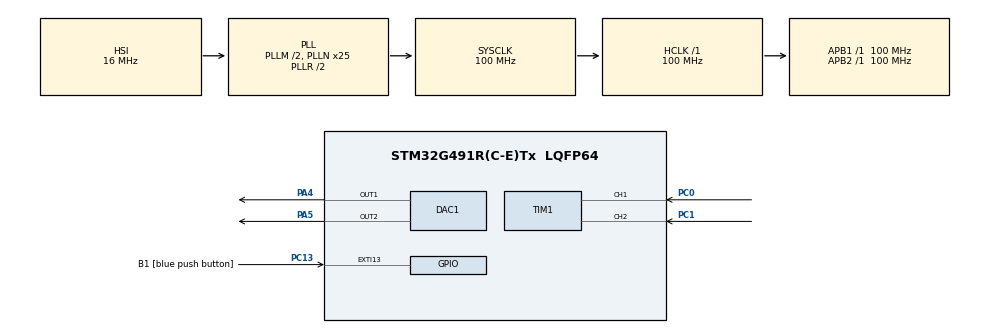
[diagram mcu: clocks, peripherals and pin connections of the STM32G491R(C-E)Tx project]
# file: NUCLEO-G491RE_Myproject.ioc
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DAC1.DAC_Channel-DAC_OUT2=DAC_CHANNEL_2
Mcu.Family=STM32G4
Mcu.Name=STM32G491R(C-E)Tx
Mcu.Package=LQFP64
NVIC.EXTI15_10_IRQn=true\:6\:0\:true\:false\:true\:true\:true\:true
NVIC.PriorityGroup=NVIC_PRIORITYGROUP_4
NVIC.TIM1_CC_IRQn=true\:12\:0\:true\:false\:true\:true\:true\:true
NVIC.TIM6_DAC_IRQn=true\:15\:0\:true\:false\:true\:false\:true\:true
NVIC.TimeBase=TIM6_DAC_IRQn
NVIC.TimeBaseIP=TIM6
PA13.GPIO_Label=T_SWDIO
PA13.Signal=SYS_JTMS-SWDIO
PA14.GPIO_Label=T_SWCLK
PA14.Signal=SYS_JTCK-SWCLK
PA2.GPIO_Mode=GPIO_MODE_AF_PP
PA2.GPIO_PuPd=GPIO_NOPULL
PA2.GPIO_Speed=GPIO_SPEED_FREQ_LOW
PA2.Signal=LPUART1_TX
PA3.GPIO_Mode=GPIO_MODE_AF_PP
PA3.GPIO_PuPd=GPIO_NOPULL
PA3.GPIO_Speed=GPIO_SPEED_FREQ_LOW
PA3.Signal=LPUART1_RX
PA4.Signal=COMP_DAC11_group
PA5.Signal=COMP_DAC12_group
PB3.GPIO_Label=T_SWO
PB3.Signal=SYS_JTDO-SWO
PC0.Signal=S_TIM1_CH1
PC1.Signal=S_TIM1_CH2
PC13.GPIO_Label=B1 [blue push button]
PC13.Signal=GPXTI13
PC14-OSC32_IN.Signal=RCC_OSC32_IN
PC15-OSC32_OUT.Signal=RCC_OSC32_OUT
PF0-OSC_IN.Signal=RCC_OSC_IN
PF1-OSC_OUT.Signal=RCC_OSC_OUT
ProjectManager.HeapSize=0x200
ProjectManager.StackSize=0x400
ProjectManager.TargetToolchain=STM32CubeIDE
RCC.ADC12Freq_Value=100000000
RCC.ADC345Freq_Value=100000000
RCC.AHBFreq_Value=100000000
RCC.APB1Freq_Value=100000000
RCC.APB1TimFreq_Value=100000000
RCC.APB2Freq_Value=100000000
RCC.APB2TimFreq_Value=100000000
RCC.CortexFreq_Value=100000000
RCC.EXTERNAL_CLOCK_VALUE=12288000
RCC.HCLKFreq_Value=100000000
RCC.HSE_VALUE=24000000
RCC.HSI48_VALUE=48000000
RCC.HSI_VALUE=16000000
RCC.LSE_VALUE=32768
RCC.PLLM=RCC_PLLM_DIV2
RCC.PLLN=25
RCC.RTCClockSelection=RCC_RTCCLKSOURCE_LSE
RCC.SYSCLKFreq_VALUE=100000000
RCC.SYSCLKSource=RCC_SYSCLKSOURCE_PLLCLK
RCC.USBFreq_Value=48000000
RCC.VCOOutputFreq_Value=200000000
SH.COMP_DAC11_group.0=DAC1_OUT1,DAC_OUT1
SH.COMP_DAC12_group.0=DAC1_OUT2,DAC_OUT2
SH.S_TIM1_CH1.0=TIM1_CH1,Encoder_Interface
SH.S_TIM1_CH2.0=TIM1_CH2,Encoder_Interface
VP_SYS_VS_DBSignals.Mode=DisableDeadBatterySignals
VP_SYS_VS_tim6.Mode=TIM6
board=NUCLEO-G491RE

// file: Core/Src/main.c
/* USER CODE BEGIN Header */
/**
  ******************************************************************************
  * @file           : main.c
  * @brief          : Main program body
  ******************************************************************************
  * @attention
  *
  * Copyright (c) 2022 STMicroelectronics.
  * All rights reserved.
  *
  * This software is licensed under terms that can be found in the LICENSE file
  * in the root directory of this software component.
  * If no LICENSE file comes with this software, it is provided AS-IS.
  *
  ******************************************************************************
  */
/* USER CODE END Header */
#include "main.h"

/* USER CODE BEGIN Includes */
#include "stdio.h"
#include "FreeRTOS.h"
#include "task.h"
#include "semphr.h"
/* USER CODE END Includes */

 DAC_HandleTypeDef hdac1;

TIM_HandleTypeDef htim1;

/* USER CODE BEGIN PV */

#define DWT_CTRL	(*(volatile uint32_t*) 0xE0001000)

/* USER CODE END PV */

void SystemClock_Config(void);
static void MX_GPIO_Init(void);
static void MX_TIM1_Init(void);
static void MX_DAC1_Init(void);
/* USER CODE BEGIN PFP */
static void task1_handler(void* parameters);
static void task2_handler(void* parameters);

extern  void SEGGER_UART_init(uint32_t);
/* USER CODE END PFP */

/* USER CODE BEGIN 0 */

SemaphoreHandle_t xSemaphore;

/* USER CODE END 0 */

int main(void)
{
  /* USER CODE BEGIN 1 */
	TaskHandle_t task1_handle;
	TaskHandle_t task2_handle;

	BaseType_t status;
  /* USER CODE END 1 */

  /* MCU Configuration--------------------------------------------------------*/

  /* Reset of all peripherals, Initializes the Flash interface and the Systick. */
  HAL_Init();

  /* Configure the system clock */
  SystemClock_Config();

  /* Initialize all configured peripherals */
  MX_GPIO_Init();
  MX_TIM1_Init();
  MX_DAC1_Init();
  /* USER CODE BEGIN 2 */

  HAL_SYSCFG_VREFBUF_VoltageScalingConfig(SYSCFG_VREFBUF_VOLTAGE_SCALE0);
	HAL_SYSCFG_VREFBUF_HighImpedanceConfig(SYSCFG_VREFBUF_HIGH_IMPEDANCE_DISABLE);
	HAL_SYSCFG_EnableVREFBUF();

  __HAL_DAC_ENABLE(&hdac1, DAC_CHANNEL_1);
  __HAL_DAC_ENABLE(&hdac1, DAC_CHANNEL_2);

  //Enable cycle counting
  DWT_CTRL |= (1<<0);

  HAL_TIM_Encoder_Start_IT(&htim1,htim1.Channel);

  SEGGER_UART_init(500000);
  SEGGER_SYSVIEW_Conf();

  status = xTaskCreate(task1_handler, "Task-1", 200, "Hello world from Task-1", 2, &task1_handle);
  configASSERT(status == pdPASS);

  status = xTaskCreate(task2_handler, "Task-2", 200, "Hello world from Task-2", 3, &task2_handle);
  configASSERT(status == pdPASS);

  //start freeRTOS scheduler
  vTaskStartScheduler();

  /* USER CODE END 2 */

  /* Infinite loop */
  while (1)
  {

  }
}

void SystemClock_Config(void)
{
  RCC_OscInitTypeDef RCC_OscInitStruct = {0};
  RCC_ClkInitTypeDef RCC_ClkInitStruct = {0};

  /** Configure the main internal regulator output voltage
  */
  HAL_PWREx_ControlVoltageScaling(PWR_REGULATOR_VOLTAGE_SCALE1);

  /** Initializes the RCC Oscillators according to the specified parameters
  * in the RCC_OscInitTypeDef structure.
  */
  RCC_OscInitStruct.OscillatorType = RCC_OSCILLATORTYPE_HSI;
  RCC_OscInitStruct.HSIState = RCC_HSI_ON;
  RCC_OscInitStruct.HSICalibrationValue = RCC_HSICALIBRATION_DEFAULT;
  RCC_OscInitStruct.PLL.PLLState = RCC_PLL_ON;
  RCC_OscInitStruct.PLL.PLLSource = RCC_PLLSOURCE_HSI;
  RCC_OscInitStruct.PLL.PLLM = RCC_PLLM_DIV2;
  RCC_OscInitStruct.PLL.PLLN = 25;
  RCC_OscInitStruct.PLL.PLLP = RCC_PLLP_DIV2;
  RCC_OscInitStruct.PLL.PLLQ = RCC_PLLQ_DIV2;
  RCC_OscInitStruct.PLL.PLLR = RCC_PLLR_DIV2;
  if (HAL_RCC_OscConfig(&RCC_OscInitStruct) != HAL_OK)
  {
    Error_Handler();
  }

  /** Initializes the CPU, AHB and APB buses clocks
  */
  RCC_ClkInitStruct.ClockType = RCC_CLOCKTYPE_HCLK|RCC_CLOCKTYPE_SYSCLK
                              |RCC_CLOCKTYPE_PCLK1|RCC_CLOCKTYPE_PCLK2;
  RCC_ClkInitStruct.SYSCLKSource = RCC_SYSCLKSOURCE_PLLCLK;
  RCC_ClkInitStruct.AHBCLKDivider = RCC_SYSCLK_DIV1;
  RCC_ClkInitStruct.APB1CLKDivider = RCC_HCLK_DIV1;
  RCC_ClkInitStruct.APB2CLKDivider = RCC_HCLK_DIV1;

  if (HAL_RCC_ClockConfig(&RCC_ClkInitStruct, FLASH_LATENCY_2) != HAL_OK)
  {
    Error_Handler();
  }
}

static void MX_DAC1_Init(void)
{

  DAC_ChannelConfTypeDef sConfig = {0};

  /** DAC Initialization
  */
  hdac1.Instance = DAC1;
  if (HAL_DAC_Init(&hdac1) != HAL_OK)
  {
    Error_Handler();
  }

  /** DAC channel OUT1 config
  */
  sConfig.DAC_HighFrequency = DAC_HIGH_FREQUENCY_INTERFACE_MODE_AUTOMATIC;
  sConfig.DAC_DMADoubleDataMode = DISABLE;
  sConfig.DAC_SignedFormat = DISABLE;
  sConfig.DAC_SampleAndHold = DAC_SAMPLEANDHOLD_DISABLE;
  sConfig.DAC_Trigger = DAC_TRIGGER_NONE;
  sConfig.DAC_Trigger2 = DAC_TRIGGER_NONE;
  sConfig.DAC_OutputBuffer = DAC_OUTPUTBUFFER_ENABLE;
  sConfig.DAC_ConnectOnChipPeripheral = DAC_CHIPCONNECT_EXTERNAL;
  sConfig.DAC_UserTrimming = DAC_TRIMMING_FACTORY;
  if (HAL_DAC_ConfigChannel(&hdac1, &sConfig, DAC_CHANNEL_1) != HAL_OK)
  {
    Error_Handler();
  }

  /** DAC channel OUT2 config
  */
  if (HAL_DAC_ConfigChannel(&hdac1, &sConfig, DAC_CHANNEL_2) != HAL_OK)
  {
    Error_Handler();
  }

}

static void MX_TIM1_Init(void)
{

  TIM_Encoder_InitTypeDef sConfig = {0};
  TIM_MasterConfigTypeDef sMasterConfig = {0};

  htim1.Instance = TIM1;
  htim1.Init.Prescaler = 0;
  htim1.Init.CounterMode = TIM_COUNTERMODE_UP;
  htim1.Init.Period = 65535;
  htim1.Init.ClockDivision = TIM_CLOCKDIVISION_DIV1;
  htim1.Init.RepetitionCounter = 0;
  htim1.Init.AutoReloadPreload = TIM_AUTORELOAD_PRELOAD_DISABLE;
  sConfig.EncoderMode = TIM_ENCODERMODE_TI1;
  sConfig.IC1Polarity = TIM_ICPOLARITY_RISING;
  sConfig.IC1Selection = TIM_ICSELECTION_DIRECTTI;
  sConfig.IC1Prescaler = TIM_ICPSC_DIV1;
  sConfig.IC1Filter = 0;
  sConfig.IC2Polarity = TIM_ICPOLARITY_RISING;
  sConfig.IC2Selection = TIM_ICSELECTION_DIRECTTI;
  sConfig.IC2Prescaler = TIM_ICPSC_DIV1;
  sConfig.IC2Filter = 0;
  if (HAL_TIM_Encoder_Init(&htim1, &sConfig) != HAL_OK)
  {
    Error_Handler();
  }
  sMasterConfig.MasterOutputTrigger = TIM_TRGO_RESET;
  sMasterConfig.MasterOutputTrigger2 = TIM_TRGO2_RESET;
  sMasterConfig.MasterSlaveMode = TIM_MASTERSLAVEMODE_DISABLE;
  if (HAL_TIMEx_MasterConfigSynchronization(&htim1, &sMasterConfig) != HAL_OK)
  {
    Error_Handler();
  }

}

static void MX_GPIO_Init(void)
{
  GPIO_InitTypeDef GPIO_InitStruct = {0};

  /* GPIO Ports Clock Enable */
  __HAL_RCC_GPIOC_CLK_ENABLE();
  __HAL_RCC_GPIOF_CLK_ENABLE();
  __HAL_RCC_GPIOA_CLK_ENABLE();
  __HAL_RCC_GPIOB_CLK_ENABLE();

  /*Configure GPIO pin : B1_Pin */
  GPIO_InitStruct.Pin = B1_Pin;
  GPIO_InitStruct.Mode = GPIO_MODE_IT_RISING;
  GPIO_InitStruct.Pull = GPIO_NOPULL;
  HAL_GPIO_Init(B1_GPIO_Port, &GPIO_InitStruct);

  /*Configure GPIO pins : PA2 PA3 */
  GPIO_InitStruct.Pin = GPIO_PIN_2|GPIO_PIN_3;
  GPIO_InitStruct.Mode = GPIO_MODE_AF_PP;
  GPIO_InitStruct.Pull = GPIO_NOPULL;
  GPIO_InitStruct.Speed = GPIO_SPEED_FREQ_LOW;
  GPIO_InitStruct.Alternate = GPIO_AF12_LPUART1;
  HAL_GPIO_Init(GPIOA, &GPIO_InitStruct);

  /* EXTI interrupt init*/
  HAL_NVIC_SetPriority(EXTI15_10_IRQn, 6, 0);
  HAL_NVIC_EnableIRQ(EXTI15_10_IRQn);

}

/* USER CODE BEGIN 4 */

static void task1_handler(void* parameters){

	char msg[100];

	uint16_t analog_out = 0;
	while(1){
		analog_out += 10;
		if(analog_out > 0xFFF)
			analog_out = 0;

		snprintf(msg,100,"Analog Out %d\n",(int)analog_out);
		SEGGER_SYSVIEW_PrintfTarget(msg);

		HAL_DAC_Start(&hdac1, DAC_CHANNEL_1);
		HAL_DAC_SetValue(&hdac1, DAC_CHANNEL_1, DAC_ALIGN_12B_R, analog_out);

		HAL_DAC_Start(&hdac1, DAC_CHANNEL_2);
		HAL_DAC_SetValue(&hdac1, DAC_CHANNEL_2, DAC_ALIGN_12B_R, analog_out);
		vTaskDelay(100);
		taskYIELD();
	}

}

static void task2_handler(void* parameters){

	char msg[100];

	xSemaphore = xSemaphoreCreateBinary();
	xSemaphoreTake( xSemaphore, 0 );

	while(1){
		if( xSemaphoreTake( xSemaphore, portMAX_DELAY ) == pdTRUE )
		{
			snprintf(msg,100,"Counter:%d\n",(int)htim1.Instance->CNT);
			SEGGER_SYSVIEW_PrintfTarget(msg);
		}
	}
}

/* USER CODE END 4 */

void HAL_TIM_PeriodElapsedCallback(TIM_HandleTypeDef *htim)
{
  if (htim->Instance == TIM6) {
    HAL_IncTick();
  }
}

void Error_Handler(void)
{
  __disable_irq();
  while (1)
  {
  }
}
